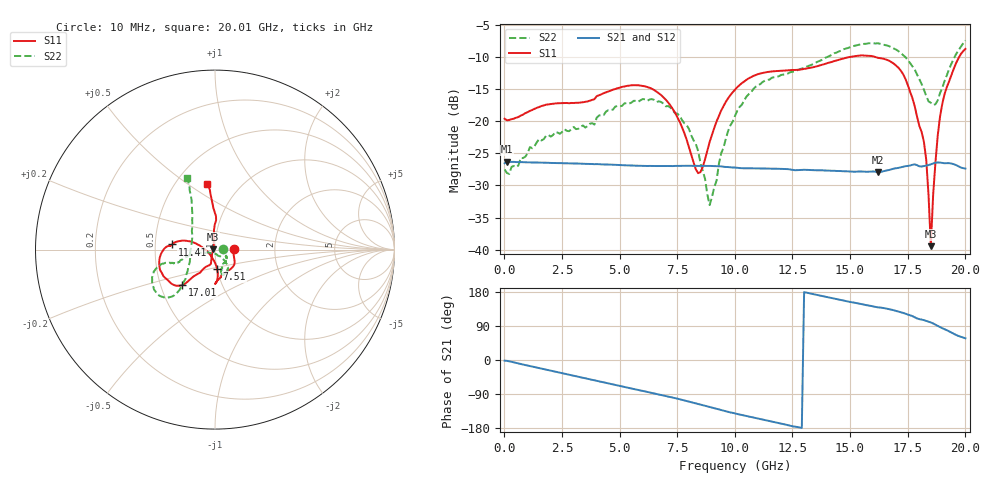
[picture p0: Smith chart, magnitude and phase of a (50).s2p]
! Hittite Microwave Corporation
! 2 Elizabeth Drive
! Chelmsford, MA 01824
! http://www.hittite.com
! Tel: 978-250-3343
! Fax: 978-250-3373
! Device:  HMC424LP3
! Description: 0.5 dB GaAs MMIC 6-Bit Digital Attenuator
! Frequency:  DC -  13.00 GHz
! Package:  LP3  - 3x3 mm Quad Flatpack No-Lead (QFN) Plastic Package: 16 pin
! Ports:  2 RF, 7 DC
!  Pad  1  = Ground
!  Pad  2  = RF IN  =  Port 1
!  Pad  3  = Ground
!  Pad  4  = V6
!  Pad  5  = V5
!  Pad  6  = V4
!  Pad  7  = V3
!  Pad  8  = V2
!  Pad  9  = V1
!  Pad 10  = Ground
!  Pad 11  = RF OUT  = Port 2
!  Pad 12  = Ground
!  Pad 15  = VEE
! Control:  -5 Volt control voltage
! State:  48
! Attenuation:  24.0 dB
! Voltages:  Vdd = -5.00 Volts  Idd =  -2.265 mA
!  V1  = 0.00 Volts  I1  =  30.0 uA
!  V2  = 0.00 Volts  I2  =  29.0 uA
!  V3  = 0.00 Volts  I3  =  29.0 uA
!  V4  = 0.00 Volts  I4  =  29.0 uA
!  V5  = -5.00 Volts  I5  =  -1.0 uA
!  V6  = -5.00 Volts  I6  =  -1.0 uA
! Data:  The device was measured on evaluation board 105354-1.
!  Data was collected using a calibrated network analyzer.
!  The evaluation circuit board was modeled and simulated.  This was use
!  to removed the evaluation board circuit from the measured data.
!  The reference plane is the edge of the package pin.
! Misc:  Lot xxxx, Unit 1
!  Application 20120001, Data collected in Application 20090083
! Date Measured:  2009-09-15
! Date:  2012-05-14  MJV
! Note:
!  Hittite supplies this data as a sample of measured data at the package pin
!  for this product.  Your particular data for this product may vary.
!  Data was taken at 25 degrees C.
!  Hittite reserves the right to change this data at anytime.
# GHz S MA R 50
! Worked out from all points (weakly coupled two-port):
!   201 points, 10 MHz to 20.01 GHz, reference 50 ohm
!   highest |S21| = -26.29 dB at 110 MHz (marker M1); lowest = -27.9 dB at 16.21 GHz (marker M2)
!   lowest |S11| = -39.5 dB at 18.51 GHz (marker M3), VSWR 1.02, Z = 49 + j0.268 ohm
!   |S11| at or under -10 dB: start of sweep to 14.96 GHz; 16.12 GHz to 19.74 GHz (3.621 GHz wide, 20.2 % of centre)
!   |S22| runs from -33.1 to -7.4 dB; largest |S21 - S12| = 0.0017
!   S11 on the Smith chart (normalised r, x): 10 MHz: 1.23, +0.01; 7.51 GHz: 1.00, -0.22; 11.41 GHz: 0.61, +0.04; 17.01 GHz: 0.64, -0.28; 20.01 GHz: 0.71, +0.59
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0.01  0.1047 2.2  0.04712 -1.8  0.04877 -2.5  0.04219 6.8
0.11  0.1018 -3.2  0.04847 -2.2  0.04819 -2.0  0.03958 0.5
1.51  0.1292 -32.5  0.04771 -21.6  0.04757 -21.6  0.07281 -29.6
3.41  0.1407 -64.8  0.04673 -47.3  0.04663 -47.2  0.09281 -54.2
6.71  0.165 -85.4  0.04483 -90.8  0.04471 -90.8  0.1431 -63.4
7.51  0.1076 -83.8  0.04492 -102.0  0.04482 -102.0  0.1145 -54.3
8.41  0.03942 -135.2  0.0449 -115.9  0.0448 -115.9  0.05866 -48.6
8.91  0.06909 171.2  0.04492 -124.0  0.04484 -123.9  0.02225 -102.4
10.01  0.1763 163.5  0.04364 -141.1  0.04352 -141.0  0.1102 -169.0
11.41  0.242 173.2  0.04284 -159.5  0.04275 -159.6  0.2101 -160.7
13.41  0.264 175.8  0.04163 173.8  0.04153 173.8  0.2784 -164.7
16.21  0.3124 -146.8  0.04028 139.0  0.04024 139.2  0.4053 -141.7
16.71  0.2958 -137.2  0.0418 134.2  0.04169 134.2  0.3839 -135.6
17.01  0.2708 -132.8  0.04312 129.4  0.04309 129.4  0.3613 -133.1
17.51  0.1916 -128.7  0.04489 120.1  0.04481 120.1  0.2995 -131.3
18.21  0.06912 -108.0  0.04482 105.2  0.04478 105.2  0.1762 -147.4
18.31  0.05027 -112.4  0.04526 103.1  0.04505 103.1  0.1578 -153.1
18.51  0.01065 165.1  0.04621 99.1  0.0462 99.1  0.1395 -173.5
18.71  0.0478 98.2  0.04757 93.4  0.0475 93.5  0.1359 163.4
18.91  0.109 93.0  0.0477 86.8  0.04765 86.7  0.1659 141.1
19.21  0.1858 88.3  0.0472 78.5  0.04711 78.5  0.2295 123.2
20.01  0.3662 97.2  0.0428 57.3  0.04255 57.7  0.4263 111.4
